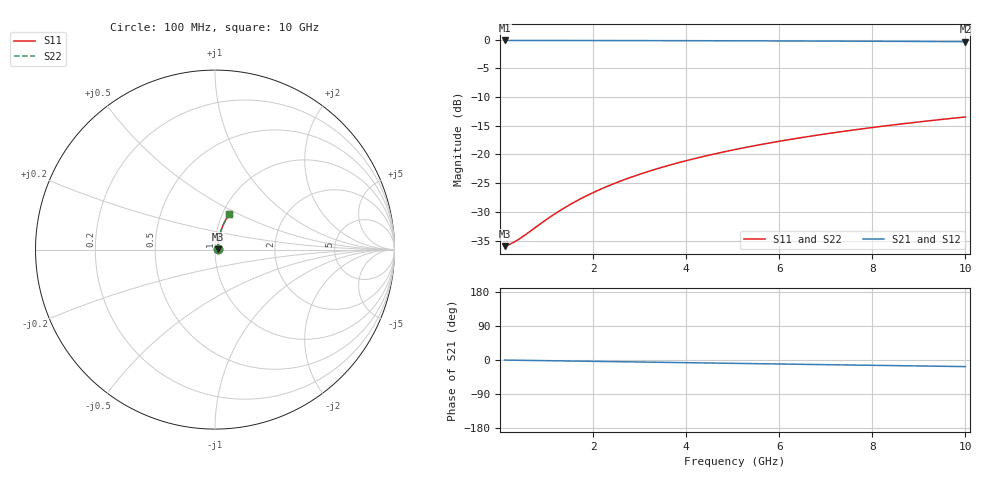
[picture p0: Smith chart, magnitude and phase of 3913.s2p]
# Hz S RI R 50.00
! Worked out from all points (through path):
!   100 points, 100 MHz to 10 GHz, reference 50 ohm
!   highest |S21| = -0.14 dB at 100 MHz (marker M1); lowest = -0.3 dB at 10 GHz (marker M2)
!   group delay of S21, straight-line fit = 4.85 ps
!   lowest |S11| = -36.0 dB at 100 MHz (marker M3), VSWR 1.03, Z = 51.6 + j0.22 ohm
!   |S11| at or under -10 dB: start of sweep to end of sweep
!   |S22| runs from -36.0 to -13.5 dB; largest |S21 - S12| = 0
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1e8  0.0157 0.00213  0.9843 -0.00303  0.9843 -0.00303  0.0157 0.00213
2e8  0.0159 0.00426  0.9841 -0.00607  0.9841 -0.00607  0.0159 0.00426
3e8  0.016 0.00638  0.984 -0.0091  0.984 -0.0091  0.016 0.00638
4e8  0.0161 0.00851  0.9839 -0.0121  0.9839 -0.0121  0.0161 0.00851
1e9  0.0169 0.0212  0.9831 -0.0303  0.9831 -0.0303  0.0169 0.0212
1.2e9  0.0172 0.0255  0.9827 -0.0363  0.9827 -0.0363  0.0172 0.0255
1.5e9  0.0178 0.0318  0.9821 -0.0454  0.9821 -0.0454  0.0178 0.0318
1.8e9  0.0185 0.0382  0.9813 -0.0545  0.9813 -0.0545  0.0185 0.0382
2.1e9  0.0194 0.0445  0.9804 -0.0635  0.9804 -0.0635  0.0194 0.0445
2.5e9  0.0206 0.0529  0.9791 -0.0755  0.9791 -0.0755  0.0206 0.0529
2.9e9  0.0221 0.0612  0.9775 -0.0875  0.9775 -0.0875  0.0221 0.0612
3.4e9  0.0242 0.0716  0.9753 -0.1024  0.9753 -0.1024  0.0242 0.0716
3.8e9  0.0261 0.0798  0.9733 -0.1142  0.9733 -0.1142  0.0261 0.0798
4.2e9  0.0282 0.088  0.971 -0.126  0.971 -0.126  0.0282 0.088
4.6e9  0.0305 0.0961  0.9686 -0.1378  0.9686 -0.1378  0.0305 0.0961
5.1e9  0.0337 0.1061  0.9652 -0.1524  0.9652 -0.1524  0.0337 0.1061
5.9e9  0.0393 0.1219  0.9592 -0.1755  0.9592 -0.1755  0.0393 0.1219
6.7e9  0.0457 0.1374  0.9523 -0.1982  0.9523 -0.1982  0.0457 0.1374
7.5e9  0.0528 0.1525  0.9448 -0.2206  0.9448 -0.2206  0.0528 0.1525
8.4e9  0.0617 0.1689  0.9353 -0.2453  0.9353 -0.2453  0.0617 0.1689
9.2e9  0.0702 0.183  0.9262 -0.2667  0.9262 -0.2667  0.0702 0.183
1e10  0.0793 0.1967  0.9164 -0.2877  0.9164 -0.2877  0.0793 0.1967
